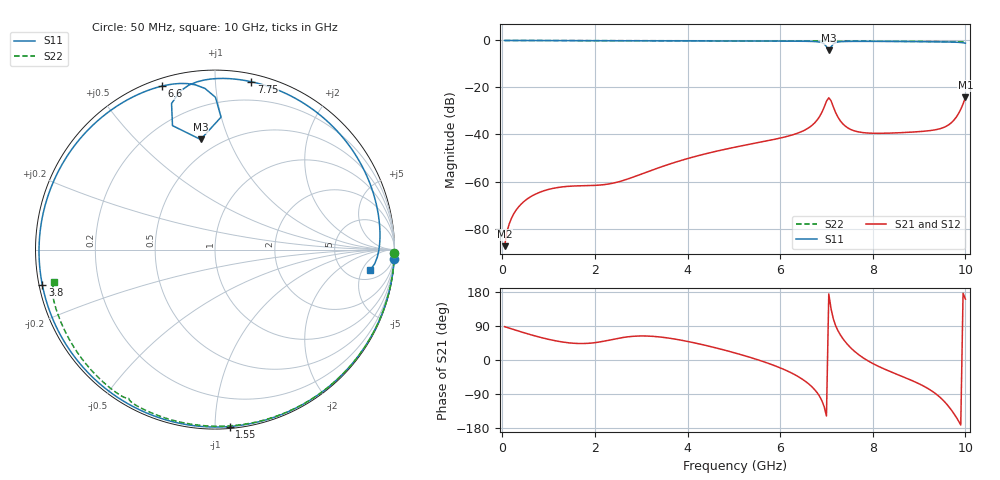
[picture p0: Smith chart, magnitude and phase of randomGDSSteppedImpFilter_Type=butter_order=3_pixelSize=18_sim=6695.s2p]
! freq	dB(S11)	phase(S11)	dB(S12)	phase(S12)
!  dB(S21)	phase(S21)	dB(S22)	phase(S22)
!S-par simulation data
#  GHz  S  DB  R 50
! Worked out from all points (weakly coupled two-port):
!   200 points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, 50 MHz to 10 GHz, reference 50 ohm
!   highest |S21| = -24.23 dB at 10 GHz (marker M1); lowest = -87.5 dB at 50 MHz (marker M2)
!   lowest |S11| = -4.2 dB at 7.05 GHz (marker M3), VSWR 4.24, Z = 20 + j39.8 ohm
!   |S11| at or under -10 dB: nowhere
!   |S22| runs from -0.8 to 0.0 dB; largest |S21 - S12| = 0
!   S11 on the Smith chart (normalised r, x): 50 MHz: 0, -38; 1.55 GHz: 0.01, -1.09; 3.8 GHz: 0.01, -0.10; 6.6 GHz: 0.03, +0.73; 7.75 GHz: 0.06, +1.24; 10 GHz: 8, -7
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0.05  -0.00 -3.0  -87.51 88.0  -87.51 88.0  -0.00 -1.0
0.35  -0.03 -20.9  -70.85 76.3  -70.85 76.3  -0.01 -6.6
0.6  -0.05 -35.5  -66.62 67.2  -66.62 67.2  -0.01 -11.4
1.05  -0.07 -60.3  -63.12 53.1  -63.12 53.1  -0.03 -19.8
1.55  -0.10 -85.2  -61.91 44.1  -61.91 44.1  -0.04 -29.1
1.75  -0.10 -94.4  -61.79 43.5  -61.79 43.5  -0.04 -32.7
2.6  -0.13 -128.8  -59.63 59.2  -59.63 59.2  -0.06 -48.0
3.4  -0.15 -156.0  -54.00 60.8  -54.00 60.8  -0.08 -62.0
3.8  -0.16 -168.5  -51.41 53.7  -51.41 53.7  -0.09 -68.8
5.05  -0.21 155.1  -45.30 17.7  -45.30 17.7  -0.14 -89.3
6.6  -0.38 108.0  -37.36 -61.4  -37.36 -61.4  -0.22 -113.4
6.7  -0.43 104.0  -35.91 -72.4  -35.91 -72.4  -0.23 -115.0
6.9  -0.92 93.6  -30.63 -107.1  -30.63 -107.1  -0.26 -118.2
7  -2.63 87.4  -25.87 -147.7  -25.87 -147.7  -0.32 -119.7
7.05  -4.17 97.4  -24.35 174.4  -24.35 174.4  -0.37 -120.2
7.15  -1.42 106.6  -28.36 107.7  -28.36 107.7  -0.31 -121.2
7.35  -0.48 93.7  -35.40 57.1  -35.40 57.1  -0.28 -124.3
7.75  -0.38 77.8  -39.10 9.2  -39.10 9.2  -0.30 -130.4
8.35  -0.42 56.6  -39.42 -29.1  -39.42 -29.1  -0.36 -139.4
9.55  -0.62 12.1  -36.85 -110.2  -36.85 -110.2  -0.48 -158.1
9.8  -0.75 1.9  -32.70 -150.6  -32.70 -150.6  -0.52 -162.8
10  -1.18 -7.4  -24.23 160.8  -24.23 160.8  -0.77 -168.5
